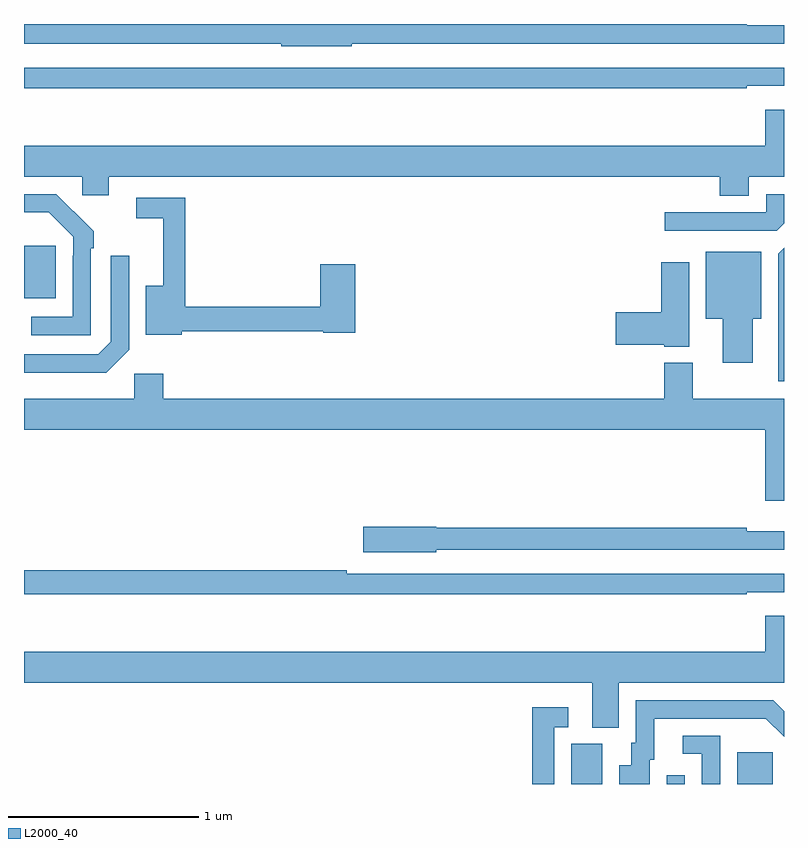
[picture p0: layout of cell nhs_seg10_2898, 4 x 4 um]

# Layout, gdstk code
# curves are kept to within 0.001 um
import gdstk
lib = gdstk.Library(unit=1e-6, precision=1e-09)
def R(c, l, rs):  # rectangles x0, y0, x1, y1
    for r in rs: c.add(gdstk.rectangle(r[:2], r[2:], *l))
def P(c, l, *ps):  # polygons
    for p in ps: c.add(gdstk.Polygon(p, *l))
L2000_40 = (2000, 40)

nhs_seg10_2898 = lib.new_cell('nhs_seg10_2898')
R(nhs_seg10_2898, L2000_40, [(271.88,1250.5,272.044,1250.712), (272.382,1250.5,272.478,1250.545), (272.753,1250.5,272.941,1250.668), (269,1253.057,269.167,1253.332)])
P(nhs_seg10_2898, L2000_40, [(270.726,1254.396),(273,1254.396),(273,1254.493),(272.804,1254.493),(272.804,1254.5),(269,1254.5),(269,1254.396),(270.354,1254.396),(270.354,1254.383),(270.726,1254.383)],
  [(272.804,1254.174),(273,1254.174),(273,1254.27),(269,1254.27),(269,1254.162),(272.804,1254.162)],
  [(272.815,1253.696),(273,1253.696),(273,1254.049),(272.9,1254.049),(272.9,1253.86),(269,1253.86),(269,1253.696),(269.307,1253.696),(269.307,1253.598),(269.446,1253.598),(269.446,1253.696),(272.663,1253.696),(272.663,1253.597),(272.815,1253.597)],
  [(269.352,1253.321),(269.367,1253.321),(269.367,1253.409),(269.17,1253.604),(269,1253.604),(269,1253.508),(269.131,1253.508),(269.259,1253.379),(269.259,1253.279),(269.256,1253.279),(269.256,1252.959),(269.037,1252.959),(269.037,1252.863),(269.352,1252.863)],
  [(273,1253.451),(273,1253.604),(272.907,1253.604),(272.907,1253.508),(272.373,1253.508),(272.373,1253.412),(272.961,1253.412)],
  [(269.83,1252.884),(270.576,1252.884),(270.576,1252.876),(270.743,1252.876),(270.743,1253.236),(270.56,1253.236),(270.56,1253.012),(269.849,1253.012),(269.849,1253.586),(269.592,1253.586),(269.592,1253.478),(269.732,1253.478),(269.732,1253.122),(269.642,1253.122),(269.642,1252.865),(269.83,1252.865)],
  [(273,1253.322),(272.969,1253.291),(272.969,1252.619),(273,1252.619)],
  [(272.836,1252.949),(272.881,1252.949),(272.881,1253.302),(272.588,1253.302),(272.588,1252.949),(272.678,1252.949),(272.678,1252.716),(272.836,1252.716)],
  [(269.553,1252.785),(269.553,1253.281),(269.457,1253.281),(269.457,1252.827),(269.391,1252.761),(269,1252.761),(269,1252.664),(269.432,1252.664)],
  [(272.5,1253.245),(272.354,1253.245),(272.354,1252.982),(272.115,1252.982),(272.115,1252.811),(272.37,1252.811),(272.37,1252.802),(272.5,1252.802)],
  [(273,1252.528),(272.521,1252.528),(272.521,1252.717),(272.369,1252.717),(272.369,1252.528),(269.732,1252.528),(269.732,1252.66),(269.58,1252.66),(269.58,1252.528),(269,1252.528),(269,1252.364),(272.9,1252.364),(272.9,1251.99),(273,1251.99)],
  [(271.17,1251.732),(273,1251.732),(273,1251.829),(272.804,1251.829),(272.804,1251.848),(271.17,1251.848),(271.17,1251.854),(270.786,1251.854),(270.786,1251.719),(271.17,1251.719)],
  [(272.804,1251.51),(273,1251.51),(273,1251.606),(270.698,1251.606),(270.698,1251.626),(269,1251.626),(269,1251.498),(272.804,1251.498)],
  [(272.131,1251.032),(273,1251.032),(273,1251.385),(272.9,1251.385),(272.9,1251.196),(269,1251.196),(269,1251.032),(271.991,1251.032),(271.991,1250.797),(272.131,1250.797)],
  [(272.293,1250.628),(272.317,1250.628),(272.317,1250.844),(272.905,1250.844),(273,1250.748),(273,1250.884),(272.944,1250.94),(272.22,1250.94),(272.22,1250.718),(272.195,1250.718),(272.195,1250.599),(272.132,1250.599),(272.132,1250.5),(272.293,1250.5)],
  [(271.791,1250.799),(271.864,1250.799),(271.864,1250.905),(271.675,1250.905),(271.675,1250.5),(271.791,1250.5)],
  [(272.664,1250.754),(272.466,1250.754),(272.466,1250.658),(272.568,1250.658),(272.568,1250.5),(272.664,1250.5)])

lib.write_gds('nhs_seg10_2898.gds')
